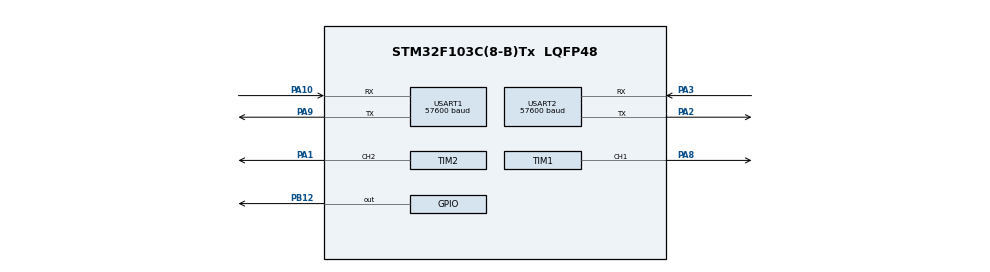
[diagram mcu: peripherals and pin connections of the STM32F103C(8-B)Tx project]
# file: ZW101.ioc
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Mcu.Family=STM32F1
Mcu.Name=STM32F103C(8-B)Tx
Mcu.Package=LQFP48
NVIC.PriorityGroup=NVIC_PRIORITYGROUP_4
NVIC.TIM1_BRK_IRQn=true\:0\:0\:false\:false\:true\:true\:true\:true
NVIC.TIM1_CC_IRQn=true\:0\:0\:false\:false\:true\:true\:true\:true
NVIC.TIM1_TRG_COM_IRQn=true\:0\:0\:false\:false\:true\:true\:true\:true
NVIC.TIM1_UP_IRQn=true\:0\:0\:false\:false\:true\:true\:true\:true
NVIC.USART1_IRQn=true\:0\:0\:false\:false\:true\:true\:true\:true
NVIC.USART2_IRQn=true\:0\:0\:false\:false\:true\:true\:true\:true
PA1.Signal=S_TIM2_CH2
PA10.Mode=Asynchronous
PA10.Signal=USART1_RX
PA13.Mode=Serial_Wire
PA13.Signal=SYS_JTMS-SWDIO
PA14.Mode=Serial_Wire
PA14.Signal=SYS_JTCK-SWCLK
PA2.Mode=Asynchronous
PA2.Signal=USART2_TX
PA3.Mode=Asynchronous
PA3.Signal=USART2_RX
PA8.Signal=S_TIM1_CH1
PA9.Mode=Asynchronous
PA9.Signal=USART1_TX
PB12.Signal=GPIO_Output
PD0-OSC_IN.Mode=HSE-External-Oscillator
PD0-OSC_IN.Signal=RCC_OSC_IN
PD1-OSC_OUT.Mode=HSE-External-Oscillator
PD1-OSC_OUT.Signal=RCC_OSC_OUT
ProjectManager.HeapSize=0x200
ProjectManager.StackSize=0x400
ProjectManager.TargetToolchain=STM32CubeIDE
RCC.APB1Freq_Value=8000000
RCC.APB2Freq_Value=8000000
SH.S_TIM1_CH1.0=TIM1_CH1,PWM Generation1 CH1
SH.S_TIM2_CH2.0=TIM2_CH2,PWM Generation2 CH2
TIM1.Channel-PWM\ Generation1\ CH1=TIM_CHANNEL_1
TIM1.OCFastMode_PWM-PWM\ Generation1\ CH1=TIM_OCFAST_DISABLE
TIM1.Period=19999
TIM1.Prescaler=7
TIM1.Pulse-PWM\ Generation1\ CH1=500
TIM2.Channel-PWM\ Generation2\ CH2=TIM_CHANNEL_2
TIM2.Period=20000
TIM2.Prescaler=7
USART1.BaudRate=57600
USART1.VirtualMode=VM_ASYNC
USART2.BaudRate=57600
USART2.VirtualMode=VM_ASYNC
VP_TIM1_VS_ClockSourceINT.Mode=Internal
VP_TIM2_VS_ClockSourceINT.Mode=Internal
board=custom

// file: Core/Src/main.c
/* USER CODE BEGIN Header */
/**
  ******************************************************************************
  * @file           : main.c
  * @brief          : Main program body
  ******************************************************************************
  * @attention
  *
  * Copyright (c) 2025 STMicroelectronics.
  * All rights reserved.
  *
  * This software is licensed under terms that can be found in the LICENSE file
  * in the root directory of this software component.
  * If no LICENSE file comes with this software, it is provided AS-IS.
  *
  ******************************************************************************
  */
/* USER CODE END Header */
#include "main.h"

/* USER CODE BEGIN Includes */
#include <string.h>  // 用于memset清空缓冲区
/* USER CODE END Includes */

TIM_HandleTypeDef htim1;
TIM_HandleTypeDef htim2;

UART_HandleTypeDef huart1;
UART_HandleTypeDef huart2;

void SystemClock_Config(void);
static void MX_GPIO_Init(void);
static void MX_TIM1_Init(void);
static void MX_USART1_UART_Init(void);
static void MX_USART2_UART_Init(void);
static void MX_TIM2_Init(void);

int main(void)
{

  /* MCU Configuration--------------------------------------------------------*/

  /* Reset of all peripherals, Initializes the Flash interface and the Systick. */
  HAL_Init();

  /* Configure the system clock */
  SystemClock_Config();

  /* Initialize all configured peripherals */
  MX_GPIO_Init();
  MX_TIM1_Init();
  MX_USART1_UART_Init();
  MX_USART2_UART_Init();
  MX_TIM2_Init();
  /* USER CODE BEGIN 2 */
  HAL_TIM_PWM_Start(&htim2, TIM_CHANNEL_2);
  // 指纹识别指令（17字节）
  uint8_t message[] = {0xEF, 0x01, 				//
		  	  	  	   0xFF, 0xFF, 0xFF, 0xFF, 	//
					   0x01, 					//
					   0x00,					//
                       0x08, 0x32, 0x02, 0xFF, 0xFF, 0x00, 0x05, 0x02, 0x40};
  uint8_t receiveData[17];  // 接收缓冲区
  uint8_t message1[]={
		  0xEF, 0x01, 0xFF, 0xFF, 0xFF, 0xFF,
		  0x01, 0x00, 0x07, 0x3C, 0x04, 0x00, 0x00, 0x00, 0x05, 0x34
  };
  uint8_t receiveData1[16];

  /* USER CODE END 2 */

  /* Infinite loop */
  while (1)
  {

    /* USER CODE BEGIN 3 */
//	  HAL_UART_Transmit(&huart2, message1, sizeof(message1), 100);  // 100ms超时发送
//  HAL_UART_Receive(&huart2, receiveData1, 16, 100);
//  memset(receiveData1, 0, sizeof(receiveData1));  // 清空接收缓冲区
    // 1. 发送指纹识别指令
    HAL_UART_Transmit(&huart2, message, sizeof(message), 100);  // 100ms超时发送

    // 2. 闪烁LED提示指令已发送

    // 3. 接收指纹模块响应（超时1000ms，避免无限等待）
    memset(receiveData, 0, sizeof(receiveData));  // 清空接收缓冲区
    HAL_StatusTypeDef rxStatus = HAL_UART_Receive(&huart2, receiveData, 17, HAL_MAX_DELAY);

    // 4. 处理接收结果
    if (rxStatus == HAL_OK) {  // 接收成功
      // 检查响应中的成功标志（第9字节为0表示成功，根据模块协议调整）
      if (receiveData[9] == 0x00) {
        HAL_GPIO_TogglePin(GPIOB, GPIO_PIN_12);  // 成功时闪烁LED
        HAL_Delay(500);
        HAL_GPIO_TogglePin(GPIOB, GPIO_PIN_12);
        __HAL_TIM_SET_COMPARE(&htim2, TIM_CHANNEL_2, 1700);
        HAL_Delay(2000);
        __HAL_TIM_SET_COMPARE(&htim2, TIM_CHANNEL_2, 500);

      }
    } else {  // 接收超时或失败（如无指纹输入）
      // 不做额外处理，继续循环
    }

    // 5. 等待一段时间再发送下一次指令（避免频繁发送）
    HAL_Delay(500);
  }
  /* USER CODE END 3 */
}

void SystemClock_Config(void)
{
  RCC_OscInitTypeDef RCC_OscInitStruct = {0};
  RCC_ClkInitTypeDef RCC_ClkInitStruct = {0};

  /** Initializes the RCC Oscillators according to the specified parameters
  * in the RCC_OscInitTypeDef structure.
  */
  RCC_OscInitStruct.OscillatorType = RCC_OSCILLATORTYPE_HSI;
  RCC_OscInitStruct.HSIState = RCC_HSI_ON;
  RCC_OscInitStruct.HSICalibrationValue = RCC_HSICALIBRATION_DEFAULT;
  RCC_OscInitStruct.PLL.PLLState = RCC_PLL_NONE;
  if (HAL_RCC_OscConfig(&RCC_OscInitStruct) != HAL_OK)
  {
    Error_Handler();
  }

  /** Initializes the CPU, AHB and APB buses clocks
  */
  RCC_ClkInitStruct.ClockType = RCC_CLOCKTYPE_HCLK|RCC_CLOCKTYPE_SYSCLK
                              |RCC_CLOCKTYPE_PCLK1|RCC_CLOCKTYPE_PCLK2;
  RCC_ClkInitStruct.SYSCLKSource = RCC_SYSCLKSOURCE_HSI;
  RCC_ClkInitStruct.AHBCLKDivider = RCC_SYSCLK_DIV1;
  RCC_ClkInitStruct.APB1CLKDivider = RCC_HCLK_DIV1;
  RCC_ClkInitStruct.APB2CLKDivider = RCC_HCLK_DIV1;

  if (HAL_RCC_ClockConfig(&RCC_ClkInitStruct, FLASH_LATENCY_0) != HAL_OK)
  {
    Error_Handler();
  }
}

static void MX_TIM1_Init(void)
{

  TIM_ClockConfigTypeDef sClockSourceConfig = {0};
  TIM_MasterConfigTypeDef sMasterConfig = {0};
  TIM_OC_InitTypeDef sConfigOC = {0};
  TIM_BreakDeadTimeConfigTypeDef sBreakDeadTimeConfig = {0};

  htim1.Instance = TIM1;
  htim1.Init.Prescaler = 7;
  htim1.Init.CounterMode = TIM_COUNTERMODE_UP;
  htim1.Init.Period = 19999;
  htim1.Init.ClockDivision = TIM_CLOCKDIVISION_DIV1;
  htim1.Init.RepetitionCounter = 0;
  htim1.Init.AutoReloadPreload = TIM_AUTORELOAD_PRELOAD_DISABLE;
  if (HAL_TIM_Base_Init(&htim1) != HAL_OK)
  {
    Error_Handler();
  }
  sClockSourceConfig.ClockSource = TIM_CLOCKSOURCE_INTERNAL;
  if (HAL_TIM_ConfigClockSource(&htim1, &sClockSourceConfig) != HAL_OK)
  {
    Error_Handler();
  }
  if (HAL_TIM_PWM_Init(&htim1) != HAL_OK)
  {
    Error_Handler();
  }
  sMasterConfig.MasterOutputTrigger = TIM_TRGO_RESET;
  sMasterConfig.MasterSlaveMode = TIM_MASTERSLAVEMODE_DISABLE;
  if (HAL_TIMEx_MasterConfigSynchronization(&htim1, &sMasterConfig) != HAL_OK)
  {
    Error_Handler();
  }
  sConfigOC.OCMode = TIM_OCMODE_PWM1;
  sConfigOC.Pulse = 500;
  sConfigOC.OCPolarity = TIM_OCPOLARITY_HIGH;
  sConfigOC.OCNPolarity = TIM_OCNPOLARITY_HIGH;
  sConfigOC.OCFastMode = TIM_OCFAST_DISABLE;
  sConfigOC.OCIdleState = TIM_OCIDLESTATE_RESET;
  sConfigOC.OCNIdleState = TIM_OCNIDLESTATE_RESET;
  if (HAL_TIM_PWM_ConfigChannel(&htim1, &sConfigOC, TIM_CHANNEL_1) != HAL_OK)
  {
    Error_Handler();
  }
  sBreakDeadTimeConfig.OffStateRunMode = TIM_OSSR_DISABLE;
  sBreakDeadTimeConfig.OffStateIDLEMode = TIM_OSSI_DISABLE;
  sBreakDeadTimeConfig.LockLevel = TIM_LOCKLEVEL_OFF;
  sBreakDeadTimeConfig.DeadTime = 0;
  sBreakDeadTimeConfig.BreakState = TIM_BREAK_DISABLE;
  sBreakDeadTimeConfig.BreakPolarity = TIM_BREAKPOLARITY_HIGH;
  sBreakDeadTimeConfig.AutomaticOutput = TIM_AUTOMATICOUTPUT_DISABLE;
  if (HAL_TIMEx_ConfigBreakDeadTime(&htim1, &sBreakDeadTimeConfig) != HAL_OK)
  {
    Error_Handler();
  }
  HAL_TIM_MspPostInit(&htim1);

}

static void MX_TIM2_Init(void)
{

  TIM_ClockConfigTypeDef sClockSourceConfig = {0};
  TIM_MasterConfigTypeDef sMasterConfig = {0};
  TIM_OC_InitTypeDef sConfigOC = {0};

  htim2.Instance = TIM2;
  htim2.Init.Prescaler = 7;
  htim2.Init.CounterMode = TIM_COUNTERMODE_UP;
  htim2.Init.Period = 20000;
  htim2.Init.ClockDivision = TIM_CLOCKDIVISION_DIV1;
  htim2.Init.AutoReloadPreload = TIM_AUTORELOAD_PRELOAD_DISABLE;
  if (HAL_TIM_Base_Init(&htim2) != HAL_OK)
  {
    Error_Handler();
  }
  sClockSourceConfig.ClockSource = TIM_CLOCKSOURCE_INTERNAL;
  if (HAL_TIM_ConfigClockSource(&htim2, &sClockSourceConfig) != HAL_OK)
  {
    Error_Handler();
  }
  if (HAL_TIM_PWM_Init(&htim2) != HAL_OK)
  {
    Error_Handler();
  }
  sMasterConfig.MasterOutputTrigger = TIM_TRGO_RESET;
  sMasterConfig.MasterSlaveMode = TIM_MASTERSLAVEMODE_DISABLE;
  if (HAL_TIMEx_MasterConfigSynchronization(&htim2, &sMasterConfig) != HAL_OK)
  {
    Error_Handler();
  }
  sConfigOC.OCMode = TIM_OCMODE_PWM1;
  sConfigOC.Pulse = 0;
  sConfigOC.OCPolarity = TIM_OCPOLARITY_HIGH;
  sConfigOC.OCFastMode = TIM_OCFAST_DISABLE;
  if (HAL_TIM_PWM_ConfigChannel(&htim2, &sConfigOC, TIM_CHANNEL_2) != HAL_OK)
  {
    Error_Handler();
  }
  HAL_TIM_MspPostInit(&htim2);

}

static void MX_USART1_UART_Init(void)
{

  huart1.Instance = USART1;
  huart1.Init.BaudRate = 57600;
  huart1.Init.WordLength = UART_WORDLENGTH_8B;
  huart1.Init.StopBits = UART_STOPBITS_1;
  huart1.Init.Parity = UART_PARITY_NONE;
  huart1.Init.Mode = UART_MODE_TX_RX;
  huart1.Init.HwFlowCtl = UART_HWCONTROL_NONE;
  huart1.Init.OverSampling = UART_OVERSAMPLING_16;
  if (HAL_UART_Init(&huart1) != HAL_OK)
  {
    Error_Handler();
  }

}

static void MX_USART2_UART_Init(void)
{

  huart2.Instance = USART2;
  huart2.Init.BaudRate = 57600;
  huart2.Init.WordLength = UART_WORDLENGTH_8B;
  huart2.Init.StopBits = UART_STOPBITS_1;
  huart2.Init.Parity = UART_PARITY_NONE;
  huart2.Init.Mode = UART_MODE_TX_RX;
  huart2.Init.HwFlowCtl = UART_HWCONTROL_NONE;
  huart2.Init.OverSampling = UART_OVERSAMPLING_16;
  if (HAL_UART_Init(&huart2) != HAL_OK)
  {
    Error_Handler();
  }

}

static void MX_GPIO_Init(void)
{
  GPIO_InitTypeDef GPIO_InitStruct = {0};

  /* GPIO Ports Clock Enable */
  __HAL_RCC_GPIOD_CLK_ENABLE();
  __HAL_RCC_GPIOA_CLK_ENABLE();
  __HAL_RCC_GPIOB_CLK_ENABLE();

  /*Configure GPIO pin Output Level */
  HAL_GPIO_WritePin(GPIOB, GPIO_PIN_12, GPIO_PIN_RESET);

  /*Configure GPIO pin : PB12 */
  GPIO_InitStruct.Pin = GPIO_PIN_12;
  GPIO_InitStruct.Mode = GPIO_MODE_OUTPUT_PP;
  GPIO_InitStruct.Pull = GPIO_NOPULL;
  GPIO_InitStruct.Speed = GPIO_SPEED_FREQ_LOW;
  HAL_GPIO_Init(GPIOB, &GPIO_InitStruct);

}

void Error_Handler(void)
{
  /* USER CODE BEGIN Error_Handler_Debug */
  /* User can add his own implementation to report the HAL error return state */
  __disable_irq();
  while (1)
  {
    // 错误时闪烁LED提示（快速闪烁）
    HAL_GPIO_TogglePin(GPIOB, GPIO_PIN_12);
    HAL_Delay(100);
  }
  /* USER CODE END Error_Handler_Debug */
}
